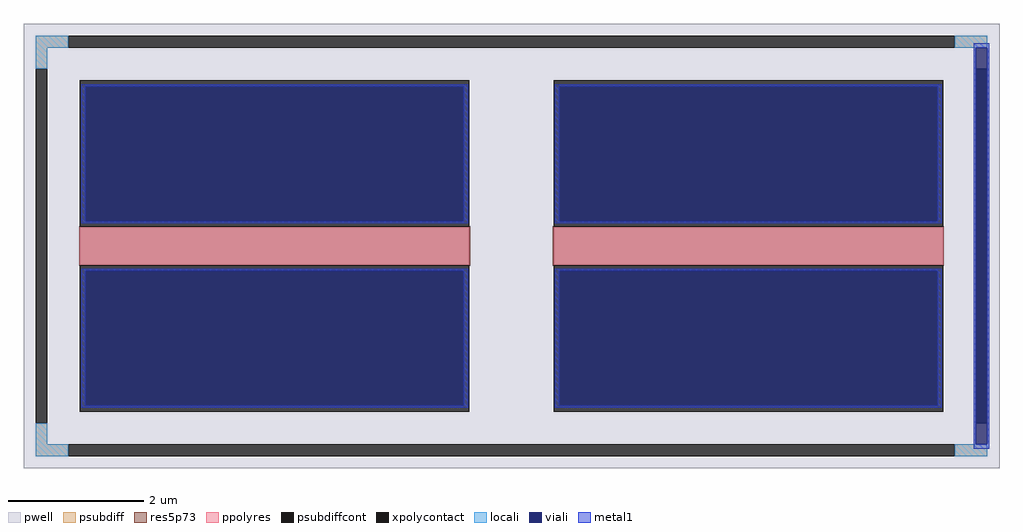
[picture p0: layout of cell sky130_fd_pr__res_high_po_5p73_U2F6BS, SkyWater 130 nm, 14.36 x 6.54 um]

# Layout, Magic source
magic
tech sky130A
magscale 1 2
<< pwell >>
rect -1436 -654 1436 654
<< psubdiff >>
rect -1400 584 -1304 618
rect 1304 584 1400 618
rect -1400 522 -1366 584
rect 1366 522 1400 584
rect -1400 -584 -1366 -522
rect 1366 -584 1400 -522
rect -1400 -618 -1304 -584
rect 1304 -618 1400 -584
<< psubdiffcont >>
rect -1304 584 1304 618
rect -1400 -522 -1366 522
rect 1366 -522 1400 522
rect -1304 -618 1304 -584
<< xpolycontact >>
rect -1270 56 -124 488
rect -1270 -488 -124 -56
rect 124 56 1270 488
rect 124 -488 1270 -56
<< ppolyres >>
rect -1270 -56 -124 56
rect 124 -56 1270 56
<< locali >>
rect -1400 584 -1304 618
rect 1304 584 1400 618
rect -1400 522 -1366 584
rect -1400 -584 -1366 -522
rect -1400 -618 -1304 -584
rect 1304 -618 1400 -584
<< viali >>
rect 1366 522 1400 584
rect -1254 73 -140 470
rect 140 73 1254 470
rect -1254 -470 -140 -73
rect 140 -470 1254 -73
rect 1366 -522 1400 522
rect 1366 -584 1400 -522
<< metal1 >>
rect 1360 584 1406 596
rect -1266 470 -128 476
rect -1266 73 -1254 470
rect -140 73 -128 470
rect -1266 67 -128 73
rect 128 470 1266 476
rect 128 73 140 470
rect 1254 73 1266 470
rect 128 67 1266 73
rect -1266 -73 -128 -67
rect -1266 -470 -1254 -73
rect -140 -470 -128 -73
rect -1266 -476 -128 -470
rect 128 -73 1266 -67
rect 128 -470 140 -73
rect 1254 -470 1266 -73
rect 128 -476 1266 -470
rect 1360 -584 1366 584
rect 1400 -584 1406 584
rect 1360 -596 1406 -584
<< res5p73 >>
rect -1272 -58 -122 58
rect 122 -58 1272 58
<< properties >>
string gencell sky130_fd_pr__res_high_po_5p73
string FIXED_BBOX -1383 -601 1383 601
string parameters w 5.730 l 0.56 m 1 nx 2 wmin 5.730 lmin 0.50 rho 319.8 val 37.951 dummy 0 dw 0.0 term 19.188 sterm 0.0 caplen 0 guard 1 glc 1 grc 1 gtc 1 gbc 1 compatible {sky130_fd_pr__res_high_po_0p35  sky130_fd_pr__res_high_po_0p69 sky130_fd_pr__res_high_po_1p41  sky130_fd_pr__res_high_po_2p85 sky130_fd_pr__res_high_po_5p73} full_metal 1 wmax 5.730 n_guard 0 hv_guard 0 vias 1 viagb 0 viagt 0 viagl 0 viagr 100
string library sky130
<< end >>
